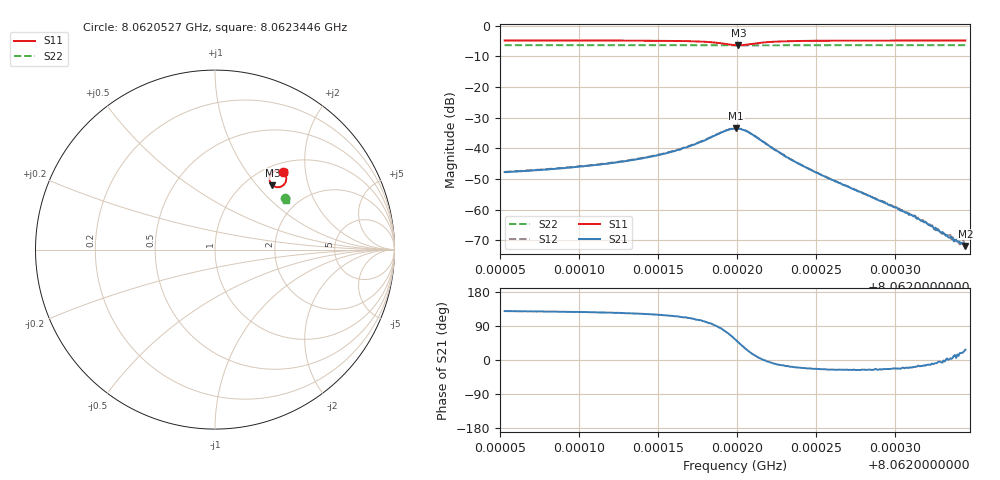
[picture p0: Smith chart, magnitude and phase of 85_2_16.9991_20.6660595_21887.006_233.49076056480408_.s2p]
#  HZ  S  RI  R  50.00
! Rohde & Schwarz Vector Network Analyzer
! Rohde-Schwarz,ZNB20-2Port,1311601062101988,3.16
! Created: UTC 3/20/2024, 10:55:53 PM
! freq[Hz]  re:S11  im:S11  re:S21  im:S21  re:S12  im:S12  re:S22  im:S22
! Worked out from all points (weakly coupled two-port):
!   401 points, 8.0620527 GHz to 8.0623446 GHz, reference 50 ohm
!   highest |S21| = -33.49 dB at 8.0621994 GHz (marker M1); lowest = -71.8 dB at 8.0623446 GHz (marker M2)
!   lowest |S11| = -6.4 dB at 8.0622009 GHz (marker M3), VSWR 2.85, Z = 64.9 + j60.6 ohm
!   |S11| at or under -10 dB: nowhere
!   |S22| runs from -6.4 to -6.3 dB; largest |S21 - S12| = 0.0015
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8.06205271e9  0.3803 0.4318  -0.00258 0.00317  -0.00239 0.00335  0.3876 0.287
8.06210161e9  0.3859 0.4258  -0.00303 0.00408  -0.0028 0.00432  0.3892 0.2844
8.06212934e9  0.39 0.4198  -0.00341 0.00517  -0.00316 0.0054  0.3902 0.2828
8.06215051e9  0.3941 0.4116  -0.00383 0.00683  -0.00347 0.00716  0.391 0.2814
8.06216875e9  0.3971 0.3969  -0.00379 0.00982  -0.00324 0.0102  0.3914 0.28
8.06218335e9  0.3911 0.3714  -0.00168 0.0149  -0.000698 0.0152  0.3911 0.2784
8.06219357e9  0.3603 0.3487  0.00584 0.0189  0.00712 0.0186  0.3898 0.2773
8.06219868e9  0.3311 0.3517  0.012 0.0171  0.0134 0.0165  0.3887 0.2777
8.06219941e9  0.327 0.3538  0.013 0.0167  0.0141 0.0158  0.3886 0.2778
8.06220087e9  0.3194 0.3592  0.0144 0.0152  0.0155 0.0143  0.3885 0.2782
8.06220671e9  0.3036 0.3904  0.0169 0.00787  0.0175 0.00685  0.3885 0.2794
8.06221765e9  0.3202 0.4303  0.0123 -0.000197  0.0123 -0.00105  0.3901 0.2803
8.06223152e9  0.3439 0.4409  0.00686 -0.002  0.00683 -0.00238  0.3918 0.2798
8.06224758e9  0.3582 0.4407  0.00398 -0.00171  0.00393 -0.00198  0.3931 0.2788
8.06229648e9  0.3749 0.4348  0.00108 -0.000475  0.00108 -0.000549  0.395 0.276
8.06231107e9  0.3773 0.4333  0.000751 -0.000266  0.000731 -0.000306  0.3955 0.2753
8.06231618e9  0.3781 0.4329  0.000641 -0.000185  0.000663 -0.000228  0.3957 0.2751
8.06233078e9  0.3801 0.4317  0.000413 -9.84e-06  0.000406 -6.53e-05  0.3962 0.2742
8.0623337e9  0.3804 0.4312  0.000355 2.77e-06  0.000396 6.08e-06  0.3963 0.2742
8.06233735e9  0.3809 0.431  0.000298 6.05e-05  0.000323 2.02e-05  0.3964 0.2739
8.062341e9  0.3813 0.4306  0.000284 9.3e-05  0.000265 5.58e-05  0.3966 0.2737
8.06234465e9  0.3817 0.4303  0.000228 0.000117  0.000229 0.000108  0.3966 0.2736
